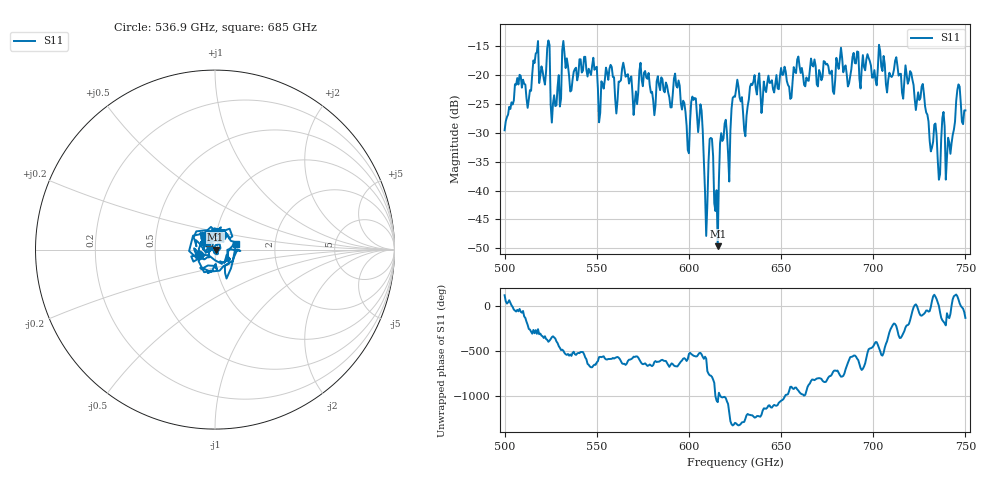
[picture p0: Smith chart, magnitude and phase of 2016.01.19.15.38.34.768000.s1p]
!Created with skrf (http://scikit-rf.org).
# GHz S RI R 50.0
!freq ReS11 ImS11
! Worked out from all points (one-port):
!   401 points, 500 GHz to 750 GHz, reference 50 ohm
!   lowest |S11| = -49.6 dB at 615.6 GHz (marker M1), VSWR 1.01, Z = 50.3 + j0.0345 ohm
!   |S11| at or under -10 dB: start of sweep to end of sweep
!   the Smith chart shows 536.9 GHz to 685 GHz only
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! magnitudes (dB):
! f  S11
! 500 GHz  -29.5
! 507.5 GHz  -21.6
! 513.1 GHz  -24.2
! 516.9 GHz  -16.2
! 523.1 GHz  -15.3
! 526.2 GHz  -24.9
! 531.2 GHz  -15.7
! 562.5 GHz  -21.1
! 593.8 GHz  -22.1
! 599.4 GHz  -33.0
! 602.5 GHz  -24.3
! 606.2 GHz  -25.0
! 609.4 GHz  -47.9
! 611.9 GHz  -30.9
! 614.4 GHz  -43.5
! 615.6 GHz  -49.6
! 618.1 GHz  -31.4
! 621.9 GHz  -38.4
! 625 GHz  -23.7
! 630.6 GHz  -30.6
! 634.4 GHz  -21.7
! 656.2 GHz  -21.1
! 687.5 GHz  -20.2
! 718.8 GHz  -21.5
! 735.6 GHz  -38.1
! 740.6 GHz  -30.8
! 746.2 GHz  -21.6
! 750 GHz  -26.1
